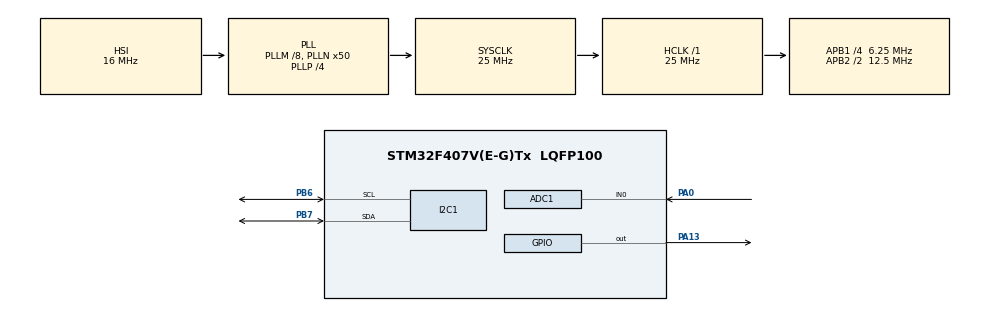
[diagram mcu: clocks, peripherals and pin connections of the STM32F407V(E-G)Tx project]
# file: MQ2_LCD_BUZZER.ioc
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ADC1.Channel-0\#ChannelRegularConversion=ADC_CHANNEL_0
ADC1.NbrOfConversionFlag=1
ADC1.Rank-0\#ChannelRegularConversion=1
ADC1.SamplingTime-0\#ChannelRegularConversion=ADC_SAMPLETIME_3CYCLES
ADC1.master=1
Mcu.Family=STM32F4
Mcu.Name=STM32F407V(E-G)Tx
Mcu.Package=LQFP100
NVIC.PriorityGroup=NVIC_PRIORITYGROUP_0
PA0-WKUP.Signal=ADCx_IN0
PA13.Signal=GPIO_Output
PB6.Mode=I2C
PB6.Signal=I2C1_SCL
PB7.Mode=I2C
PB7.Signal=I2C1_SDA
ProjectManager.HeapSize=0x200
ProjectManager.StackSize=0x400
ProjectManager.TargetToolchain=STM32CubeIDE
RCC.48MHZClocksFreq_Value=14285714.285714285
RCC.AHBFreq_Value=25000000
RCC.APB1CLKDivider=RCC_HCLK_DIV4
RCC.APB1Freq_Value=6250000
RCC.APB1TimFreq_Value=12500000
RCC.APB2CLKDivider=RCC_HCLK_DIV2
RCC.APB2Freq_Value=12500000
RCC.APB2TimFreq_Value=25000000
RCC.CortexFreq_Value=25000000
RCC.HCLKFreq_Value=25000000
RCC.HSE_VALUE=8000000
RCC.HSI_VALUE=16000000
RCC.LSE_VALUE=32768
RCC.PLLM=8
RCC.PLLN=50
RCC.PLLP=RCC_PLLP_DIV4
RCC.PLLQ=7
RCC.SYSCLKFreq_VALUE=25000000
RCC.SYSCLKSource=RCC_SYSCLKSOURCE_PLLCLK
RCC.VCOOutputFreq_Value=100000000
SH.ADCx_IN0.0=ADC1_IN0,IN0
board=STM32F407G-DISC1

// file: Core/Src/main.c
/* USER CODE BEGIN Header */
/**
  ******************************************************************************
  * @file           : main.c
  * @brief          : Main program body
  ******************************************************************************
  * @attention
  *
  * Copyright (c) 2025 STMicroelectronics.
  * All rights reserved.
  *
  * This software is licensed under terms that can be found in the LICENSE file
  * in the root directory of this software component.
  * If no LICENSE file comes with this software, it is provided AS-IS.
  *
  ******************************************************************************
  */
/* USER CODE END Header */
#include "main.h"
#include "my_lcd.h"
#include "mq2.h"

#include <stdio.h>
#include <string.h>
#include <stdarg.h>

#include "stm32f4xx_hal.h"

I2C_HandleTypeDef hi2c1;

void SystemClock_Config(void);
 void MX_GPIO_Init(void);

/* USER CODE BEGIN 0 */
extern volatile ADC_HandleTypeDef hadc1;

/* USER CODE END 0 */

int main(void)
{

  /* USER CODE BEGIN 1 */
	uint16_t val=0;
	char str1[32];
	char str2[32];

  /* USER CODE END 1 */

  /* MCU Configuration--------------------------------------------------------*/

  /* Reset of all peripherals, Initializes the Flash interface and the Systick. */
  HAL_Init();

  /* Configure the system clock */
  SystemClock_Config();

  /* Initialize all configured peripherals */
  MX_GPIO_Init();
  MX_ADC1_Init();
  MX_I2C1_Init();

  /* Infinite loop */
  while (1)
  {

    /* USER CODE BEGIN 3 */
	  HAL_ADC_Start(&hadc1);
	  HAL_ADC_PollForConversion(&hadc1, HAL_MAX_DELAY);
	  val = HAL_ADC_GetValue(&hadc1);
	 	  HAL_ADC_Stop(&hadc1);

	 	  sprintf(str1, "MQ2 Gas Value: %d\r\n", val);
	 	 // HAL_UART_Transmit(&huart2, (uint8_t*)str1, strlen(str1), HAL_MAX_DELAY);

	 	  if(val >= 1000)
	 	  {
	 	      sprintf(str2, "GAS DETECTED!!!\r\n");
	 	      //HAL_UART_Transmit(&huart2, (uint8_t*)str2, strlen(str2), HAL_MAX_DELAY);

	 	      HAL_GPIO_WritePin(GPIOD, GPIO_PIN_13, GPIO_PIN_SET);
	 	      HAL_Delay(1000);
	 	      HAL_GPIO_WritePin(GPIOD, GPIO_PIN_13, GPIO_PIN_RESET);
	 	  }

	 	 if (!lcd16x2_i2c_init(&hi2c1))
	 	   {
	 	       // LCD not detected
	 	       while(1);
	 	    }

	 	         lcd16x2_i2c_clear();

	 	         //Print on 1st line
	 	         lcd16x2_i2c_setCursor(0, 0);   // Row 0, Col 0
	 	         lcd16x2_i2c_printf("sunbeam");

  }
  /* USER CODE END 3 */
}

void SystemClock_Config(void)
{
  RCC_OscInitTypeDef RCC_OscInitStruct = {0};
  RCC_ClkInitTypeDef RCC_ClkInitStruct = {0};

  /** Configure the main internal regulator output voltage
  */
  __HAL_RCC_PWR_CLK_ENABLE();
  __HAL_PWR_VOLTAGESCALING_CONFIG(PWR_REGULATOR_VOLTAGE_SCALE1);

  /** Initializes the RCC Oscillators according to the specified parameters
  * in the RCC_OscInitTypeDef structure.
  */
  RCC_OscInitStruct.OscillatorType = RCC_OSCILLATORTYPE_HSI;
  RCC_OscInitStruct.HSIState = RCC_HSI_ON;
  RCC_OscInitStruct.HSICalibrationValue = RCC_HSICALIBRATION_DEFAULT;
  RCC_OscInitStruct.PLL.PLLState = RCC_PLL_ON;
  RCC_OscInitStruct.PLL.PLLSource = RCC_PLLSOURCE_HSI;
  RCC_OscInitStruct.PLL.PLLM = 8;
  RCC_OscInitStruct.PLL.PLLN = 50;
  RCC_OscInitStruct.PLL.PLLP = RCC_PLLP_DIV4;
  RCC_OscInitStruct.PLL.PLLQ = 7;
  if (HAL_RCC_OscConfig(&RCC_OscInitStruct) != HAL_OK)
  {
    Error_Handler();
  }

  /** Initializes the CPU, AHB and APB buses clocks
  */
  RCC_ClkInitStruct.ClockType = RCC_CLOCKTYPE_HCLK|RCC_CLOCKTYPE_SYSCLK
                              |RCC_CLOCKTYPE_PCLK1|RCC_CLOCKTYPE_PCLK2;
  RCC_ClkInitStruct.SYSCLKSource = RCC_SYSCLKSOURCE_PLLCLK;
  RCC_ClkInitStruct.AHBCLKDivider = RCC_SYSCLK_DIV1;
  RCC_ClkInitStruct.APB1CLKDivider = RCC_HCLK_DIV4;
  RCC_ClkInitStruct.APB2CLKDivider = RCC_HCLK_DIV2;

  if (HAL_RCC_ClockConfig(&RCC_ClkInitStruct, FLASH_LATENCY_0) != HAL_OK)
  {
    Error_Handler();
  }
}

 void MX_I2C1_Init(void)
{

  hi2c1.Instance = I2C1;
  hi2c1.Init.ClockSpeed = 100000;
  hi2c1.Init.DutyCycle = I2C_DUTYCYCLE_2;
  hi2c1.Init.OwnAddress1 = 0;
  hi2c1.Init.AddressingMode = I2C_ADDRESSINGMODE_7BIT;
  hi2c1.Init.DualAddressMode = I2C_DUALADDRESS_DISABLE;
  hi2c1.Init.OwnAddress2 = 0;
  hi2c1.Init.GeneralCallMode = I2C_GENERALCALL_DISABLE;
  hi2c1.Init.NoStretchMode = I2C_NOSTRETCH_DISABLE;
  if (HAL_I2C_Init(&hi2c1) != HAL_OK)
  {
    Error_Handler();
  }

}

 void MX_GPIO_Init(void)
{
  GPIO_InitTypeDef GPIO_InitStruct = {0};

  /* GPIO Ports Clock Enable */
  __HAL_RCC_GPIOA_CLK_ENABLE();
  __HAL_RCC_GPIOB_CLK_ENABLE();

  /*Configure GPIO pin Output Level */
  HAL_GPIO_WritePin(GPIOA, GPIO_PIN_13, GPIO_PIN_RESET);

  /*Configure GPIO pin : PA13 */
  GPIO_InitStruct.Pin = GPIO_PIN_13;
  GPIO_InitStruct.Mode = GPIO_MODE_OUTPUT_PP;
  GPIO_InitStruct.Pull = GPIO_NOPULL;
  GPIO_InitStruct.Speed = GPIO_SPEED_FREQ_LOW;
  HAL_GPIO_Init(GPIOA, &GPIO_InitStruct);

}

void Error_Handler(void)
{
  __disable_irq();
  while (1)
  {
  }
}
